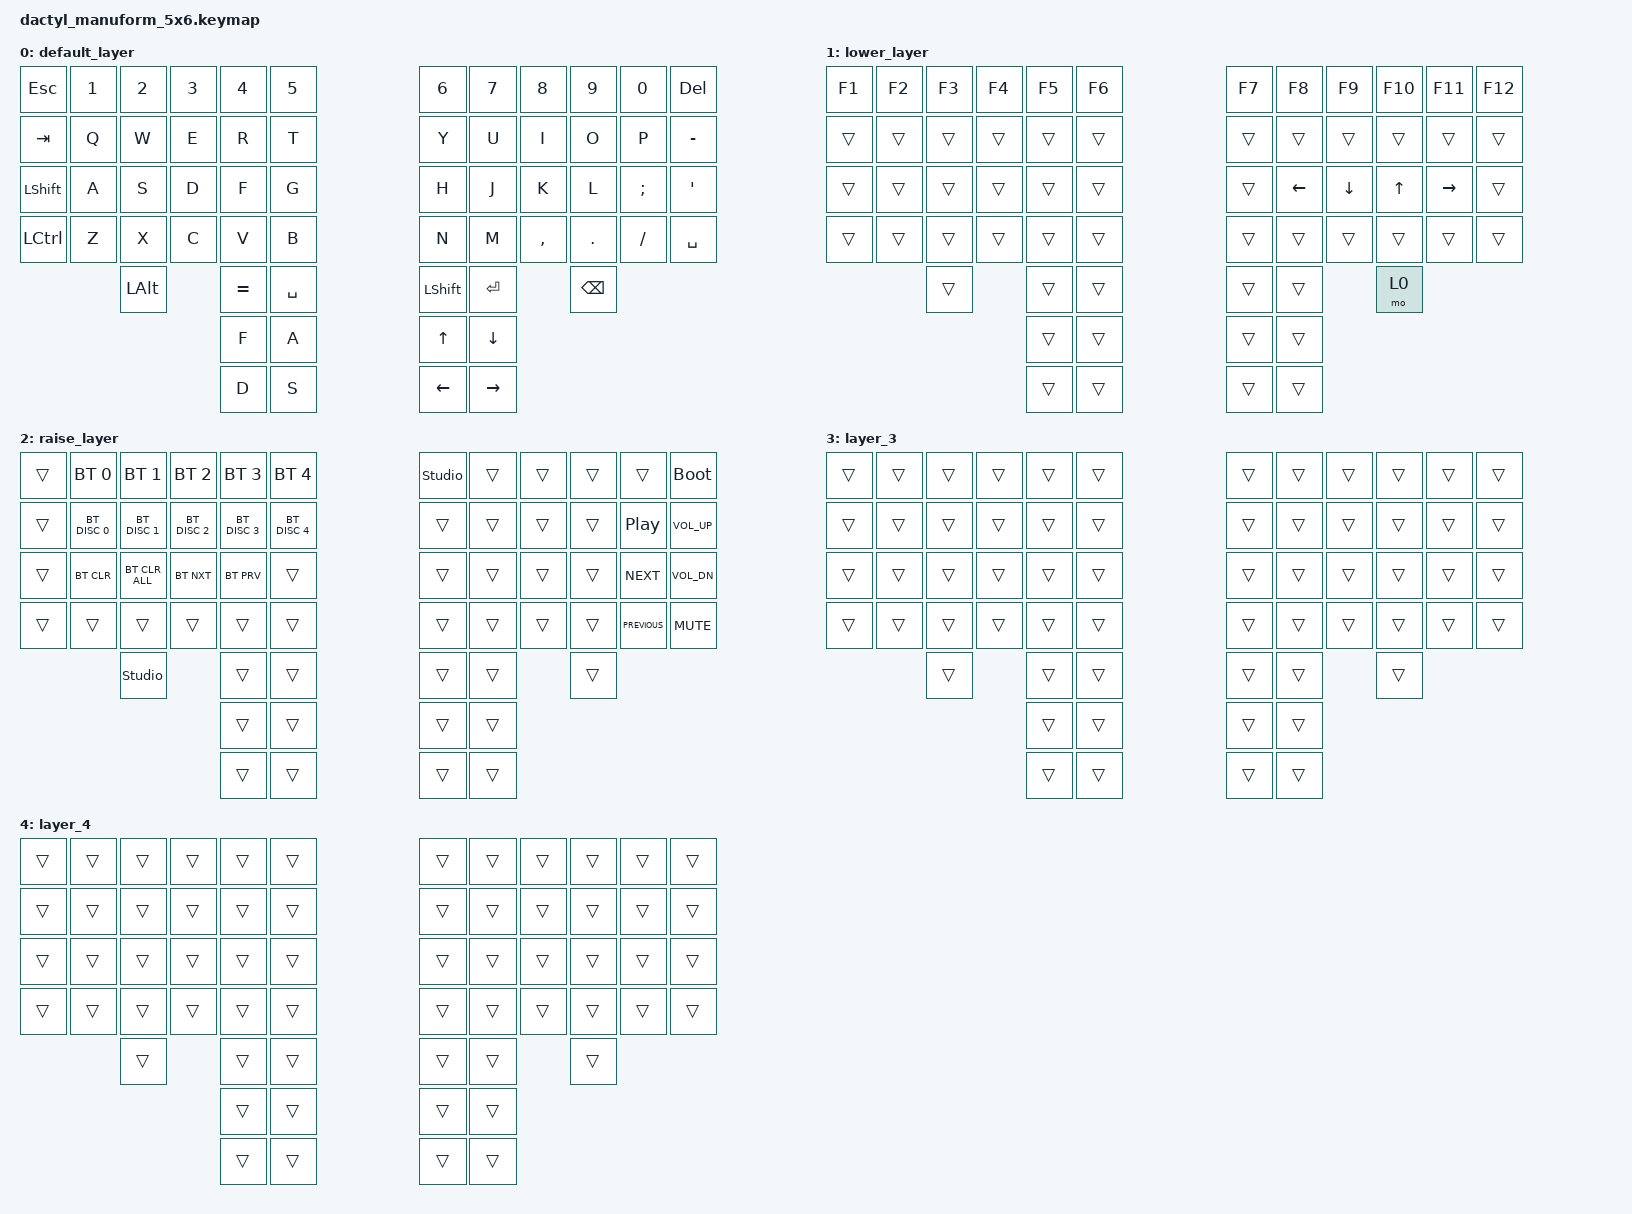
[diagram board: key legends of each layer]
#include <behaviors.dtsi>
#include <dt-bindings/zmk/bt.h>
#include <dt-bindings/zmk/keys.h>

#define DEFAULT 0
#define LWR 1
#define RSE 2
#define ADJ 3

/ {
    combos {
        compatible = "zmk,combos";

        ZMKunlock {
            bindings = <&studio_unlock>;
            key-positions = <17 29>;
        };
    };

    keymap {
        compatible = "zmk,keymap";

        default_layer {
            bindings = <
&kp ESC    &kp N1  &kp N2    &kp N3  &kp N4     &kp N5         &kp N6          &kp N7     &kp N8     &kp N9         &kp N0     &kp DEL
&kp TAB    &kp Q   &kp W     &kp E   &kp R      &kp T          &kp Y           &kp U      &kp I      &kp O          &kp P      &kp MINUS
&kp LSHFT  &kp A   &kp S     &kp D   &kp F      &kp G          &kp H           &kp J      &kp K      &kp L          &kp SEMI   &kp SQT
&kp LCTRL  &kp Z   &kp X     &kp C   &kp V      &kp B          &kp N           &kp M      &kp COMMA  &kp DOT        &kp SLASH  &kp SPACE
                   &kp LALT          &kp EQUAL  &kp SPACE      &kp LEFT_SHIFT  &kp RET               &kp BACKSPACE
                                     &kp F      &kp A          &kp UP_ARROW    &kp DOWN
                                     &kp D      &kp S          &kp LEFT        &kp RIGHT
            >;
        };

        lower_layer {
            bindings = <
&kp F1  &kp F2  &kp F3  &kp F4  &kp F5  &kp F6      &kp F7  &kp F8    &kp F9    &kp F10  &kp F11    &kp F12
&trans  &trans  &trans  &trans  &trans  &trans      &trans  &trans    &trans    &trans   &trans     &trans
&trans  &trans  &trans  &trans  &trans  &trans      &trans  &kp LEFT  &kp DOWN  &kp UP   &kp RIGHT  &trans
&trans  &trans  &trans  &trans  &trans  &trans      &trans  &trans    &trans    &trans   &trans     &trans
                &trans          &trans  &trans      &trans  &trans              &mo 0
                                &trans  &trans      &trans  &trans
                                &trans  &trans      &trans  &trans
            >;
        };

        raise_layer {
            bindings = <
&trans  &bt BT_SEL 0   &bt BT_SEL 1    &bt BT_SEL 2   &bt BT_SEL 3   &bt BT_SEL 4       &studio_unlock  &trans  &trans  &trans  &trans            &bootloader
&trans  &bt BT_DISC 0  &bt BT_DISC 1   &bt BT_DISC 2  &bt BT_DISC 3  &bt BT_DISC 4      &trans          &trans  &trans  &trans  &kp C_PLAY_PAUSE  &kp K_VOL_UP
&trans  &bt BT_CLR     &bt BT_CLR_ALL  &bt BT_NXT     &bt BT_PRV     &trans             &trans          &trans  &trans  &trans  &kp C_NEXT        &kp K_VOL_DN
&trans  &trans         &trans          &trans         &trans         &trans             &trans          &trans  &trans  &trans  &kp C_PREVIOUS    &kp K_MUTE
                       &studio_unlock                 &trans         &trans             &trans          &trans          &trans
                                                      &trans         &trans             &trans          &trans
                                                      &trans         &trans             &trans          &trans
            >;
        };

        layer_3 {
            bindings = <
&trans  &trans  &trans  &trans  &trans  &trans      &trans  &trans  &trans  &trans  &trans  &trans
&trans  &trans  &trans  &trans  &trans  &trans      &trans  &trans  &trans  &trans  &trans  &trans
&trans  &trans  &trans  &trans  &trans  &trans      &trans  &trans  &trans  &trans  &trans  &trans
&trans  &trans  &trans  &trans  &trans  &trans      &trans  &trans  &trans  &trans  &trans  &trans
                &trans          &trans  &trans      &trans  &trans          &trans
                                &trans  &trans      &trans  &trans
                                &trans  &trans      &trans  &trans
            >;
        };

        layer_4 {
            bindings = <
&trans  &trans  &trans  &trans  &trans  &trans      &trans  &trans  &trans  &trans  &trans  &trans
&trans  &trans  &trans  &trans  &trans  &trans      &trans  &trans  &trans  &trans  &trans  &trans
&trans  &trans  &trans  &trans  &trans  &trans      &trans  &trans  &trans  &trans  &trans  &trans
&trans  &trans  &trans  &trans  &trans  &trans      &trans  &trans  &trans  &trans  &trans  &trans
                &trans          &trans  &trans      &trans  &trans          &trans
                                &trans  &trans      &trans  &trans
                                &trans  &trans      &trans  &trans
            >;
        };
    };
};
